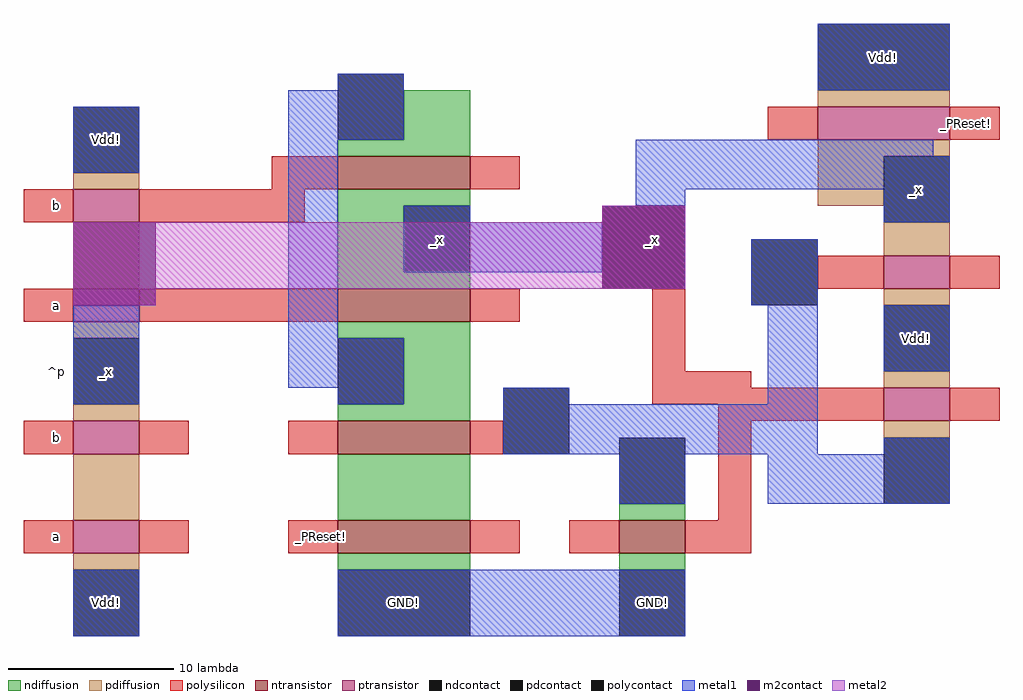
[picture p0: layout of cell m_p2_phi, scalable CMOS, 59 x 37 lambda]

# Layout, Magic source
magic
tech scmos
<< ndiffusion >>
rect 24 4 28 7
rect 20 3 28 4
rect 20 0 28 1
rect 20 -4 24 0
rect 20 -5 28 -4
rect 20 -8 28 -7
rect 24 -12 28 -8
rect 20 -13 28 -12
rect 20 -19 28 -15
rect 37 -19 41 -18
rect 20 -22 28 -21
rect 37 -22 41 -21
<< pdiffusion >>
rect 49 6 57 7
rect 49 3 57 4
rect 4 1 8 2
rect 49 0 53 3
rect 4 -5 8 -1
rect 4 -8 8 -7
rect 4 -13 8 -12
rect 53 -3 57 -1
rect 53 -6 57 -5
rect 53 -11 57 -10
rect 4 -19 8 -15
rect 53 -14 57 -13
rect 4 -22 8 -21
<< ntransistor >>
rect 20 1 28 3
rect 20 -7 28 -5
rect 20 -15 28 -13
rect 20 -21 28 -19
rect 37 -21 41 -19
<< ptransistor >>
rect 49 4 57 6
rect 4 -1 8 1
rect 4 -7 8 -5
rect 53 -5 57 -3
rect 4 -15 8 -13
rect 53 -13 57 -11
rect 4 -21 8 -19
<< polysilicon >>
rect 46 4 49 6
rect 57 4 60 6
rect 16 1 20 3
rect 28 1 31 3
rect 1 -1 4 1
rect 8 -1 18 1
rect 1 -7 4 -5
rect 8 -7 20 -5
rect 28 -7 31 -5
rect 39 -10 41 -5
rect 49 -5 53 -3
rect 57 -5 60 -3
rect 39 -11 45 -10
rect 1 -15 4 -13
rect 8 -15 11 -13
rect 17 -15 20 -13
rect 28 -15 30 -13
rect 39 -12 53 -11
rect 43 -13 53 -12
rect 57 -13 60 -11
rect 43 -19 45 -13
rect 1 -21 4 -19
rect 8 -21 11 -19
rect 17 -21 20 -19
rect 28 -21 31 -19
rect 34 -21 37 -19
rect 41 -21 45 -19
<< ndcontact >>
rect 20 4 24 8
rect 24 -4 28 0
rect 20 -12 24 -8
rect 37 -18 41 -14
rect 20 -26 28 -22
rect 37 -26 41 -22
<< pdcontact >>
rect 4 2 8 6
rect 49 7 57 11
rect 53 -1 57 3
rect 4 -12 8 -8
rect 53 -10 57 -6
rect 53 -18 57 -14
rect 4 -26 8 -22
<< polycontact >>
rect 36 -5 41 0
rect 45 -6 49 -2
rect 30 -15 34 -11
<< metal1 >>
rect 20 7 24 8
rect 49 7 57 11
rect 4 2 8 6
rect 17 4 24 7
rect 4 -12 8 -6
rect 17 -8 20 4
rect 38 3 56 4
rect 38 1 57 3
rect 38 0 41 1
rect 24 -1 28 0
rect 24 -4 36 -1
rect 53 -1 57 1
rect 45 -6 49 -2
rect 17 -11 24 -8
rect 20 -12 24 -11
rect 30 -12 34 -11
rect 46 -12 49 -6
rect 53 -10 57 -6
rect 30 -15 49 -12
rect 53 -15 57 -14
rect 37 -18 41 -15
rect 46 -18 57 -15
rect 4 -26 8 -22
rect 20 -26 41 -22
<< m2contact >>
rect 4 -6 9 -1
rect 36 -5 41 0
<< metal2 >>
rect 36 -1 41 0
rect 4 -5 41 -1
rect 4 -6 9 -5
<< labels >>
rlabel polysilicon 3 0 3 0 3 b
rlabel polysilicon 3 -6 3 -6 3 a
rlabel polysilicon 3 -14 3 -14 3 b
rlabel polysilicon 3 -20 3 -20 3 a
rlabel space 1 -27 5 7 7 ^p
rlabel metal2 39 -2 39 -2 1 _x
rlabel polysilicon 19 -20 19 -20 1 _PReset!
rlabel polysilicon 58 5 58 5 5 _PReset!
rlabel pdcontact 6 -24 6 -24 1 Vdd!
rlabel pdcontact 6 -10 6 -10 1 _x
rlabel pdcontact 6 4 6 4 5 Vdd!
rlabel ndcontact 24 -24 24 -24 1 GND!
rlabel ndcontact 39 -24 39 -24 1 GND!
rlabel pdcontact 55 -8 55 -8 5 Vdd!
rlabel ndcontact 26 -2 26 -2 5 _x
rlabel pdcontact 53 9 53 9 5 Vdd!
rlabel pdcontact 55 1 55 1 4 _x
<< end >>
